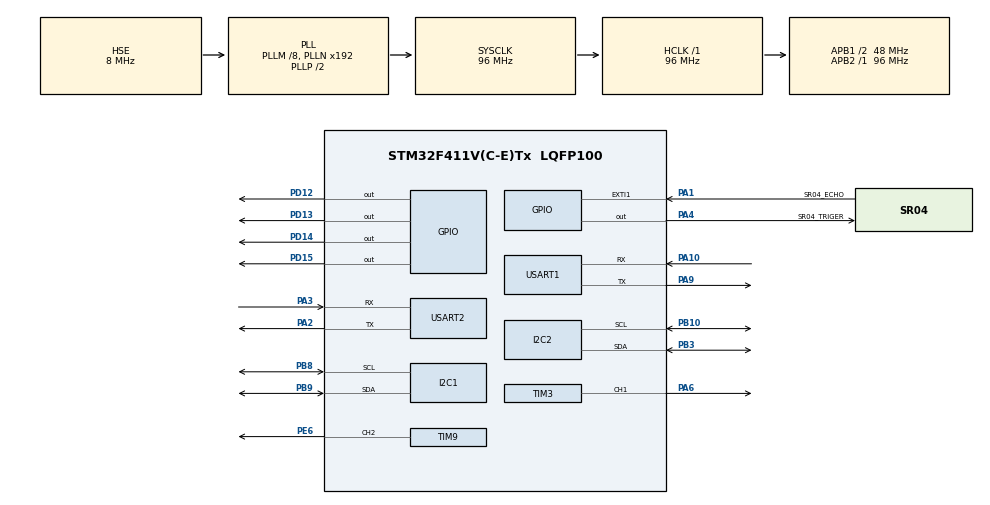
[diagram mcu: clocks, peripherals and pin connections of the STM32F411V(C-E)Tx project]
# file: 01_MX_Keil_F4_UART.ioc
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Mcu.Family=STM32F4
Mcu.Name=STM32F411V(C-E)Tx
Mcu.Package=LQFP100
NVIC.EXTI1_IRQn=true\:0\:0\:false\:false\:true\:true\:true\:true
NVIC.PriorityGroup=NVIC_PRIORITYGROUP_4
NVIC.TIM1_BRK_TIM9_IRQn=true\:1\:0\:true\:false\:true\:true\:true\:true
NVIC.TIM1_UP_TIM10_IRQn=true\:1\:0\:true\:false\:true\:true\:true\:true
NVIC.TIM3_IRQn=true\:1\:0\:true\:false\:true\:true\:true\:true
NVIC.TIM4_IRQn=true\:1\:0\:true\:false\:true\:true\:true\:true
NVIC.USART1_IRQn=true\:1\:0\:true\:false\:true\:true\:true\:true
NVIC.USART2_IRQn=true\:1\:0\:true\:false\:true\:true\:true\:true
PA1.GPIO_Label=SR04_ECHO
PA1.GPIO_ModeDefaultEXTI=GPIO_MODE_IT_RISING_FALLING
PA1.GPIO_PuPd=GPIO_PULLUP
PA1.Signal=GPXTI1
PA10.GPIO_PuPd=GPIO_PULLUP
PA10.Mode=Asynchronous
PA10.Signal=USART1_RX
PA13.Mode=Serial_Wire
PA13.Signal=SYS_JTMS-SWDIO
PA14.Mode=Serial_Wire
PA14.Signal=SYS_JTCK-SWCLK
PA2.Mode=Asynchronous
PA2.Signal=USART2_TX
PA3.Mode=Asynchronous
PA3.Signal=USART2_RX
PA4.GPIO_Label=SR04_TRIGER
PA4.Signal=GPIO_Output
PA6.Signal=S_TIM3_CH1
PA9.Mode=Asynchronous
PA9.Signal=USART1_TX
PB10.Mode=I2C
PB10.Signal=I2C2_SCL
PB3.Mode=I2C
PB3.Signal=I2C2_SDA
PB8.Mode=I2C
PB8.Signal=I2C1_SCL
PB9.Mode=I2C
PB9.Signal=I2C1_SDA
PD12.Signal=GPIO_Output
PD13.Signal=GPIO_Output
PD14.Signal=GPIO_Output
PD15.Signal=GPIO_Output
PE6.Signal=S_TIM9_CH2
PH0\ -\ OSC_IN.Mode=HSE-External-Oscillator
PH0\ -\ OSC_IN.Signal=RCC_OSC_IN
PH1\ -\ OSC_OUT.Mode=HSE-External-Oscillator
PH1\ -\ OSC_OUT.Signal=RCC_OSC_OUT
ProjectManager.HeapSize=0x200
ProjectManager.StackSize=0x400
ProjectManager.TargetToolchain=MDK-ARM V5.32
RCC.48MHZClocksFreq_Value=48000000
RCC.AHBFreq_Value=96000000
RCC.APB1CLKDivider=RCC_HCLK_DIV2
RCC.APB1Freq_Value=48000000
RCC.APB1TimFreq_Value=96000000
RCC.APB2Freq_Value=96000000
RCC.APB2TimFreq_Value=96000000
RCC.CortexFreq_Value=96000000
RCC.HCLKFreq_Value=96000000
RCC.HSE_VALUE=8000000
RCC.HSI_VALUE=16000000
RCC.LSE_VALUE=32768
RCC.PLLM=8
RCC.PLLSourceVirtual=RCC_PLLSOURCE_HSE
RCC.SYSCLKFreq_VALUE=96000000
RCC.SYSCLKSource=RCC_SYSCLKSOURCE_PLLCLK
RCC.VCOOutputFreq_Value=192000000
SH.S_TIM3_CH1.0=TIM3_CH1,PWM Generation1 CH1
SH.S_TIM9_CH2.0=TIM9_CH2,PWM Generation2 CH2
TIM1.Period=4999
TIM1.Prescaler=9599
TIM3.Channel-PWM\ Generation1\ CH1=TIM_CHANNEL_1
TIM3.Period=999
TIM3.Prescaler=95
TIM4.Period=999
TIM4.Prescaler=95
TIM9.Channel-PWM\ Generation2\ CH2=TIM_CHANNEL_2
TIM9.Period=19999
TIM9.Prescaler=95
USART1.VirtualMode=VM_ASYNC
USART2.VirtualMode=VM_ASYNC
VP_TIM1_VS_ClockSourceINT.Mode=Internal
VP_TIM3_VS_ClockSourceINT.Mode=Internal
VP_TIM4_VS_ClockSourceINT.Mode=Internal
VP_TIM9_VS_ClockSourceINT.Mode=Internal
board=custom

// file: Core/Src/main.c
/* USER CODE BEGIN Header */
/**
  ******************************************************************************
  * @file           : main.c
  * @brief          : Main program body
  ******************************************************************************
  * @attention
  *
  * Copyright (c) 2023 STMicroelectronics.
  * All rights reserved.
  *
  * This software is licensed under terms that can be found in the LICENSE file
  * in the root directory of this software component.
  * If no LICENSE file comes with this software, it is provided AS-IS.
  *
  ******************************************************************************
  */
/* USER CODE END Header */
#include "main.h"

/* USER CODE BEGIN Includes */
#include "My_Lib_Servo.h"
#include "DS3231.h"
/* USER CODE END Includes */

/* USER CODE BEGIN PD */
#define printf          phu_printf

/* USER CODE END PD */

I2C_HandleTypeDef hi2c1;
I2C_HandleTypeDef hi2c2;

TIM_HandleTypeDef htim1;
TIM_HandleTypeDef htim3;
TIM_HandleTypeDef htim4;
TIM_HandleTypeDef htim9;

UART_HandleTypeDef huart1;
UART_HandleTypeDef huart2;

/* USER CODE BEGIN PV */
uint8_t rx_data = 0; // single data of UART communicate
bool flag_Uart_Comm = 0; // Is in communicate UART or not?
bool flag_Uart_Comm_Is_Done = 0; // Is it end of communicate or not?
bool flag_Is_EnableToCalChecksum = 0; // Is enable to calculate checksum or not?
uint8_t rx_frame[COMM_FRAME_MAX]; // Buffer to communicate UART, 10 elements
uint8_t rx_index = 0; // Index of RX buffer: [0:9]
uint8_t string_compare[COMM_FRAME_MAX]={0x2A, 0x01, 0x11, 0x22, 0x33, 0x44, 0x55, 0x66, 0x77, 0x07}; // temp
uint32_t desiredPeriod = (100*10 - 1); // Global variable to hold the desired period -> 100 is 100ms
volatile uint32_t delayCounter = 0;

uint8_t h,m,s,dd,mm,yy, dayofweek;
char *arr_day[]={"SUN", "MON", "TUE", "WED", "THU", "FRI", "SAT"};
/* USER CODE END PV */

void SystemClock_Config(void);
static void MX_GPIO_Init(void);
static void MX_USART1_UART_Init(void);
static void MX_USART2_UART_Init(void);
static void MX_TIM1_Init(void);
static void MX_TIM4_Init(void);
static void MX_TIM3_Init(void);
static void MX_TIM9_Init(void);
static void MX_I2C1_Init(void);
static void MX_I2C2_Init(void);

/* USER CODE BEGIN 0 */
void phu_printf(char *format,...)
{
  char str[80];

  /*Extract the the argument list using VA apis */
  va_list args;
  va_start(args, format);
  vsprintf(str, format,args);

  /*Choose huartX - the uart port which you want to log out */
  HAL_UART_Transmit(&huart2,(uint8_t *)str, strlen(str),HAL_MAX_DELAY);
  va_end(args);
}

void HAL_UART_TxCpltCallback(UART_HandleTypeDef *huart)
{
  //Empty
  if(huart == &huart1)
  {
    BSP_LED_On(LED3); // Turn LED3 - GREEN on
    HAL_TIM_Base_Start_IT(&htim1);
  }

}

void HAL_UART_RxCpltCallback(UART_HandleTypeDef *huart)
{
  if(huart == &huart1)
  {
    HAL_UART_Receive_IT(&huart1, &rx_data, 1);// Register to recieve data at the next interupt time
    BSP_LED_On(LED5); // Turn LED5 - RED on
    HAL_TIM_Base_Start_IT(&htim1);

    if(rx_data == COMM_CODE_START)
    {
      if(rx_index == 0)
      {
        flag_Uart_Comm = 1; //start communication
				flag_Uart_Comm_Is_Done = 0;
        flag_Is_EnableToCalChecksum = 0;
				memset(rx_frame, 0x00, sizeof(rx_frame)); // Clear RX buffer
      }
    }

    if(flag_Uart_Comm == 1)
    {
      rx_frame[rx_index] = rx_data;
      rx_index++;

      if(rx_index > (COMM_FRAME_MAX - 1)) // End of communication
      {
        rx_index = 0;
        flag_Uart_Comm = 0;
        flag_Uart_Comm_Is_Done = 1; // indicate that UART communicate has done
        flag_Is_EnableToCalChecksum = 1; // Enable calculate checksum
      }
    }
  }
}

void HAL_TIM_PeriodElapsedCallback(TIM_HandleTypeDef *htim)
{
  if(htim == &htim1)
  {
    BSP_LED_Off(LED5); // Turn LED5 - RED off
    BSP_LED_Off(LED3); // Turn LED3 - Green off
    HAL_TIM_Base_Stop_IT(&htim1);
  }
  else if (htim == &htim4)
  {
    if (delayCounter > 0)
    {
      delayCounter--;
    }
  }
}

/**
  * @brief  Compares two buffers.
  * @param  pBuffer1, pBuffer2: buffers to be compared.
  * @param  BufferLength: buffer's length
  * @retval 0  : pBuffer1 identical to pBuffer2
  *         >0 : pBuffer1 differs from pBuffer2
  */
static uint16_t Buffercmp(uint8_t* pBuffer1, uint8_t* pBuffer2, uint16_t BufferLength)
{
  while (BufferLength--)
  {
    if ((*pBuffer1) != *pBuffer2)
    {
      return BufferLength;
    }
    pBuffer1++;
    pBuffer2++;
  }

  return 0;
}

/**
  * @brief  Calculate checksum
  * @param  pBuffer: buffers to be calculated checksum.
  * @param  BufferLength: buffer's length
  * @retval : checksum
  */
uint8_t Cal_Checksum(uint8_t *pBuffer, uint8_t u8_length)
{
  uint8_t buffer_index = 0;
  uint8_t checksum = 0x00;
  for(buffer_index = 0; buffer_index < u8_length; buffer_index++)
  {
    checksum = checksum + pBuffer[buffer_index];
  }
	// printf("Cal_Checksum checksum =%2x, rx_frame[COMM_FRAME_MAX - 1] = %2x\r\n", checksum, rx_frame[COMM_FRAME_MAX - 1]);
  return checksum;
}

bool Is_Enable_Led_Control_Handler(void)
{
  //Data process
  uint8_t _checksum = 0x00;
	bool isEnableControlLed = DISABLE;

  if(flag_Is_EnableToCalChecksum == 1)
  {
    flag_Is_EnableToCalChecksum = 0;
    _checksum = Cal_Checksum(rx_frame, COMM_FRAME_MAX - 1);
    if((_checksum == rx_frame[COMM_FRAME_MAX - 1]))
    {
      isEnableControlLed = ENABLE;
    }
    else
    {
      printf("Checksum Error... PLease calculate again or check checksum byte of TX device\r\n");
      isEnableControlLed = DISABLE;
    }
  }
  return isEnableControlLed;
}

void Led_Control_Handler(void)
{
  /* Both buffers are same, No need to include checksum byte because it was checked at Is_Enable_Led_Control_Handler*/
  if(Buffercmp(rx_frame, string_compare, COMM_FRAME_MAX - 1) == 0)
  {
    //Led application turn-on here
    printf("Led application turn-on here\r\n");
    BSP_LED_On(LED6); // Turn LED6 - BLUE on
  }
  else
  {
    //Led application turn-off here
    printf("Led application turn-off here\r\n");
    BSP_LED_Off(LED6); // Turn LED6 - BLUE off
  }
}

void HAL_GPIO_EXTI_Callback(uint16_t GPIO_Pin)
{
  if(GPIO_Pin == SR04_TRIGER_Pin)
  {
    HCSR04_Callback();
  }
}

float temp = 0;
void delay_us(uint16_t delay);

/* USER CODE END 0 */

int main(void)
{

  /* MCU Configuration--------------------------------------------------------*/

  /* Reset of all peripherals, Initializes the Flash interface and the Systick. */
  HAL_Init();

  /* Configure the system clock */
  SystemClock_Config();

  /* Initialize all configured peripherals */
  MX_GPIO_Init();
  MX_USART1_UART_Init();
  MX_USART2_UART_Init();
  MX_TIM1_Init();
  MX_TIM4_Init();
  MX_TIM3_Init();
  MX_TIM9_Init();
  MX_I2C1_Init();
  MX_I2C2_Init();
  /* USER CODE BEGIN 2 */
  HAL_UART_Receive_IT(&huart1, &rx_data, 1);
  __HAL_TIM_SET_AUTORELOAD(&htim1, desiredPeriod); // Re-configure TIM1 run as 100ms. Separate code by built-in CubeMx
  HAL_TIM_PWM_Start(&htim3, TIM_CHANNEL_1);

  servo_init(&sv1, &htim9, TIM_CHANNEL_2);
  HAL_TIM_PWM_Start(&htim9, TIM_CHANNEL_2);

  rtc_init(&hi2c1);
  rtc_write_time(10,55,55);
  rtc_write_date(25,10,23);

  /* USER CODE END 2 */

  /* Infinite loop */
  while (1)
  {

    /* USER CODE BEGIN 3 */
		// phu_printf("Phu check print by using UART2 PA2_TX - PA3_RX STM32F411 Discovery Board\r\n");
    if(Is_Enable_Led_Control_Handler())
    {
      Led_Control_Handler();
    }
    // rtc_read_time(&h,&m,&s);
    // rtc_read_date(&dd, &mm, &yy);
    // dayofweek = rtc_get_day_of_week(dd, mm, yy);
    // temp = rtc_read_temp();
		HAL_Delay(1);
  }
  /* USER CODE END 3 */
}

void SystemClock_Config(void)
{
  RCC_OscInitTypeDef RCC_OscInitStruct = {0};
  RCC_ClkInitTypeDef RCC_ClkInitStruct = {0};

  /** Configure the main internal regulator output voltage
  */
  __HAL_RCC_PWR_CLK_ENABLE();
  __HAL_PWR_VOLTAGESCALING_CONFIG(PWR_REGULATOR_VOLTAGE_SCALE1);

  /** Initializes the RCC Oscillators according to the specified parameters
  * in the RCC_OscInitTypeDef structure.
  */
  RCC_OscInitStruct.OscillatorType = RCC_OSCILLATORTYPE_HSE;
  RCC_OscInitStruct.HSEState = RCC_HSE_ON;
  RCC_OscInitStruct.PLL.PLLState = RCC_PLL_ON;
  RCC_OscInitStruct.PLL.PLLSource = RCC_PLLSOURCE_HSE;
  RCC_OscInitStruct.PLL.PLLM = 8;
  RCC_OscInitStruct.PLL.PLLN = 192;
  RCC_OscInitStruct.PLL.PLLP = RCC_PLLP_DIV2;
  RCC_OscInitStruct.PLL.PLLQ = 4;
  if (HAL_RCC_OscConfig(&RCC_OscInitStruct) != HAL_OK)
  {
    Error_Handler();
  }

  /** Initializes the CPU, AHB and APB buses clocks
  */
  RCC_ClkInitStruct.ClockType = RCC_CLOCKTYPE_HCLK|RCC_CLOCKTYPE_SYSCLK
                              |RCC_CLOCKTYPE_PCLK1|RCC_CLOCKTYPE_PCLK2;
  RCC_ClkInitStruct.SYSCLKSource = RCC_SYSCLKSOURCE_PLLCLK;
  RCC_ClkInitStruct.AHBCLKDivider = RCC_SYSCLK_DIV1;
  RCC_ClkInitStruct.APB1CLKDivider = RCC_HCLK_DIV2;
  RCC_ClkInitStruct.APB2CLKDivider = RCC_HCLK_DIV1;

  if (HAL_RCC_ClockConfig(&RCC_ClkInitStruct, FLASH_LATENCY_3) != HAL_OK)
  {
    Error_Handler();
  }
}

static void MX_I2C1_Init(void)
{

  hi2c1.Instance = I2C1;
  hi2c1.Init.ClockSpeed = 100000;
  hi2c1.Init.DutyCycle = I2C_DUTYCYCLE_2;
  hi2c1.Init.OwnAddress1 = 0;
  hi2c1.Init.AddressingMode = I2C_ADDRESSINGMODE_7BIT;
  hi2c1.Init.DualAddressMode = I2C_DUALADDRESS_DISABLE;
  hi2c1.Init.OwnAddress2 = 0;
  hi2c1.Init.GeneralCallMode = I2C_GENERALCALL_DISABLE;
  hi2c1.Init.NoStretchMode = I2C_NOSTRETCH_DISABLE;
  if (HAL_I2C_Init(&hi2c1) != HAL_OK)
  {
    Error_Handler();
  }

}

static void MX_I2C2_Init(void)
{

  hi2c2.Instance = I2C2;
  hi2c2.Init.ClockSpeed = 100000;
  hi2c2.Init.DutyCycle = I2C_DUTYCYCLE_2;
  hi2c2.Init.OwnAddress1 = 0;
  hi2c2.Init.AddressingMode = I2C_ADDRESSINGMODE_7BIT;
  hi2c2.Init.DualAddressMode = I2C_DUALADDRESS_DISABLE;
  hi2c2.Init.OwnAddress2 = 0;
  hi2c2.Init.GeneralCallMode = I2C_GENERALCALL_DISABLE;
  hi2c2.Init.NoStretchMode = I2C_NOSTRETCH_DISABLE;
  if (HAL_I2C_Init(&hi2c2) != HAL_OK)
  {
    Error_Handler();
  }

}

static void MX_TIM1_Init(void)
{

  TIM_ClockConfigTypeDef sClockSourceConfig = {0};
  TIM_MasterConfigTypeDef sMasterConfig = {0};

  htim1.Instance = TIM1;
  htim1.Init.Prescaler = 9599;
  htim1.Init.CounterMode = TIM_COUNTERMODE_UP;
  htim1.Init.Period = 4999;
  htim1.Init.ClockDivision = TIM_CLOCKDIVISION_DIV1;
  htim1.Init.RepetitionCounter = 0;
  htim1.Init.AutoReloadPreload = TIM_AUTORELOAD_PRELOAD_DISABLE;
  if (HAL_TIM_Base_Init(&htim1) != HAL_OK)
  {
    Error_Handler();
  }
  sClockSourceConfig.ClockSource = TIM_CLOCKSOURCE_INTERNAL;
  if (HAL_TIM_ConfigClockSource(&htim1, &sClockSourceConfig) != HAL_OK)
  {
    Error_Handler();
  }
  sMasterConfig.MasterOutputTrigger = TIM_TRGO_RESET;
  sMasterConfig.MasterSlaveMode = TIM_MASTERSLAVEMODE_DISABLE;
  if (HAL_TIMEx_MasterConfigSynchronization(&htim1, &sMasterConfig) != HAL_OK)
  {
    Error_Handler();
  }

}

static void MX_TIM3_Init(void)
{

  TIM_ClockConfigTypeDef sClockSourceConfig = {0};
  TIM_MasterConfigTypeDef sMasterConfig = {0};
  TIM_OC_InitTypeDef sConfigOC = {0};

  htim3.Instance = TIM3;
  htim3.Init.Prescaler = 95;
  htim3.Init.CounterMode = TIM_COUNTERMODE_UP;
  htim3.Init.Period = 999;
  htim3.Init.ClockDivision = TIM_CLOCKDIVISION_DIV1;
  htim3.Init.AutoReloadPreload = TIM_AUTORELOAD_PRELOAD_DISABLE;
  if (HAL_TIM_Base_Init(&htim3) != HAL_OK)
  {
    Error_Handler();
  }
  sClockSourceConfig.ClockSource = TIM_CLOCKSOURCE_INTERNAL;
  if (HAL_TIM_ConfigClockSource(&htim3, &sClockSourceConfig) != HAL_OK)
  {
    Error_Handler();
  }
  if (HAL_TIM_PWM_Init(&htim3) != HAL_OK)
  {
    Error_Handler();
  }
  sMasterConfig.MasterOutputTrigger = TIM_TRGO_RESET;
  sMasterConfig.MasterSlaveMode = TIM_MASTERSLAVEMODE_DISABLE;
  if (HAL_TIMEx_MasterConfigSynchronization(&htim3, &sMasterConfig) != HAL_OK)
  {
    Error_Handler();
  }
  sConfigOC.OCMode = TIM_OCMODE_PWM1;
  sConfigOC.Pulse = 0;
  sConfigOC.OCPolarity = TIM_OCPOLARITY_HIGH;
  sConfigOC.OCFastMode = TIM_OCFAST_DISABLE;
  if (HAL_TIM_PWM_ConfigChannel(&htim3, &sConfigOC, TIM_CHANNEL_1) != HAL_OK)
  {
    Error_Handler();
  }
  HAL_TIM_MspPostInit(&htim3);

}

static void MX_TIM4_Init(void)
{

  TIM_ClockConfigTypeDef sClockSourceConfig = {0};
  TIM_MasterConfigTypeDef sMasterConfig = {0};

  htim4.Instance = TIM4;
  htim4.Init.Prescaler = 95;
  htim4.Init.CounterMode = TIM_COUNTERMODE_UP;
  htim4.Init.Period = 999;
  htim4.Init.ClockDivision = TIM_CLOCKDIVISION_DIV1;
  htim4.Init.AutoReloadPreload = TIM_AUTORELOAD_PRELOAD_DISABLE;
  if (HAL_TIM_Base_Init(&htim4) != HAL_OK)
  {
    Error_Handler();
  }
  sClockSourceConfig.ClockSource = TIM_CLOCKSOURCE_INTERNAL;
  if (HAL_TIM_ConfigClockSource(&htim4, &sClockSourceConfig) != HAL_OK)
  {
    Error_Handler();
  }
  sMasterConfig.MasterOutputTrigger = TIM_TRGO_RESET;
  sMasterConfig.MasterSlaveMode = TIM_MASTERSLAVEMODE_DISABLE;
  if (HAL_TIMEx_MasterConfigSynchronization(&htim4, &sMasterConfig) != HAL_OK)
  {
    Error_Handler();
  }

}

static void MX_TIM9_Init(void)
{

  TIM_ClockConfigTypeDef sClockSourceConfig = {0};
  TIM_OC_InitTypeDef sConfigOC = {0};

  htim9.Instance = TIM9;
  htim9.Init.Prescaler = 95;
  htim9.Init.CounterMode = TIM_COUNTERMODE_UP;
  htim9.Init.Period = 19999;
  htim9.Init.ClockDivision = TIM_CLOCKDIVISION_DIV1;
  htim9.Init.AutoReloadPreload = TIM_AUTORELOAD_PRELOAD_DISABLE;
  if (HAL_TIM_Base_Init(&htim9) != HAL_OK)
  {
    Error_Handler();
  }
  sClockSourceConfig.ClockSource = TIM_CLOCKSOURCE_INTERNAL;
  if (HAL_TIM_ConfigClockSource(&htim9, &sClockSourceConfig) != HAL_OK)
  {
    Error_Handler();
  }
  if (HAL_TIM_PWM_Init(&htim9) != HAL_OK)
  {
    Error_Handler();
  }
  sConfigOC.OCMode = TIM_OCMODE_PWM1;
  sConfigOC.Pulse = 0;
  sConfigOC.OCPolarity = TIM_OCPOLARITY_HIGH;
  sConfigOC.OCFastMode = TIM_OCFAST_DISABLE;
  if (HAL_TIM_PWM_ConfigChannel(&htim9, &sConfigOC, TIM_CHANNEL_2) != HAL_OK)
  {
    Error_Handler();
  }
  HAL_TIM_MspPostInit(&htim9);

}

static void MX_USART1_UART_Init(void)
{

  huart1.Instance = USART1;
  huart1.Init.BaudRate = 115200;
  huart1.Init.WordLength = UART_WORDLENGTH_8B;
  huart1.Init.StopBits = UART_STOPBITS_1;
  huart1.Init.Parity = UART_PARITY_NONE;
  huart1.Init.Mode = UART_MODE_TX_RX;
  huart1.Init.HwFlowCtl = UART_HWCONTROL_NONE;
  huart1.Init.OverSampling = UART_OVERSAMPLING_16;
  if (HAL_UART_Init(&huart1) != HAL_OK)
  {
    Error_Handler();
  }

}

static void MX_USART2_UART_Init(void)
{

  huart2.Instance = USART2;
  huart2.Init.BaudRate = 115200;
  huart2.Init.WordLength = UART_WORDLENGTH_8B;
  huart2.Init.StopBits = UART_STOPBITS_1;
  huart2.Init.Parity = UART_PARITY_NONE;
  huart2.Init.Mode = UART_MODE_TX_RX;
  huart2.Init.HwFlowCtl = UART_HWCONTROL_NONE;
  huart2.Init.OverSampling = UART_OVERSAMPLING_16;
  if (HAL_UART_Init(&huart2) != HAL_OK)
  {
    Error_Handler();
  }

}

static void MX_GPIO_Init(void)
{
  GPIO_InitTypeDef GPIO_InitStruct = {0};

  /* GPIO Ports Clock Enable */
  __HAL_RCC_GPIOE_CLK_ENABLE();
  __HAL_RCC_GPIOH_CLK_ENABLE();
  __HAL_RCC_GPIOA_CLK_ENABLE();
  __HAL_RCC_GPIOB_CLK_ENABLE();
  __HAL_RCC_GPIOD_CLK_ENABLE();

  /*Configure GPIO pin Output Level */
  HAL_GPIO_WritePin(SR04_TRIGER_GPIO_Port, SR04_TRIGER_Pin, GPIO_PIN_RESET);

  /*Configure GPIO pin Output Level */
  HAL_GPIO_WritePin(GPIOD, GPIO_PIN_12|GPIO_PIN_13|GPIO_PIN_14|GPIO_PIN_15, GPIO_PIN_RESET);

  /*Configure GPIO pin : SR04_ECHO_Pin */
  GPIO_InitStruct.Pin = SR04_ECHO_Pin;
  GPIO_InitStruct.Mode = GPIO_MODE_IT_RISING_FALLING;
  GPIO_InitStruct.Pull = GPIO_PULLUP;
  HAL_GPIO_Init(SR04_ECHO_GPIO_Port, &GPIO_InitStruct);

  /*Configure GPIO pin : SR04_TRIGER_Pin */
  GPIO_InitStruct.Pin = SR04_TRIGER_Pin;
  GPIO_InitStruct.Mode = GPIO_MODE_OUTPUT_PP;
  GPIO_InitStruct.Pull = GPIO_NOPULL;
  GPIO_InitStruct.Speed = GPIO_SPEED_FREQ_LOW;
  HAL_GPIO_Init(SR04_TRIGER_GPIO_Port, &GPIO_InitStruct);

  /*Configure GPIO pins : PD12 PD13 PD14 PD15 */
  GPIO_InitStruct.Pin = GPIO_PIN_12|GPIO_PIN_13|GPIO_PIN_14|GPIO_PIN_15;
  GPIO_InitStruct.Mode = GPIO_MODE_OUTPUT_PP;
  GPIO_InitStruct.Pull = GPIO_NOPULL;
  GPIO_InitStruct.Speed = GPIO_SPEED_FREQ_LOW;
  HAL_GPIO_Init(GPIOD, &GPIO_InitStruct);

  /* EXTI interrupt init*/
  HAL_NVIC_SetPriority(EXTI1_IRQn, 0, 0);
  HAL_NVIC_EnableIRQ(EXTI1_IRQn);

}

void Error_Handler(void)
{
  __disable_irq();
  while (1)
  {
  }
}
